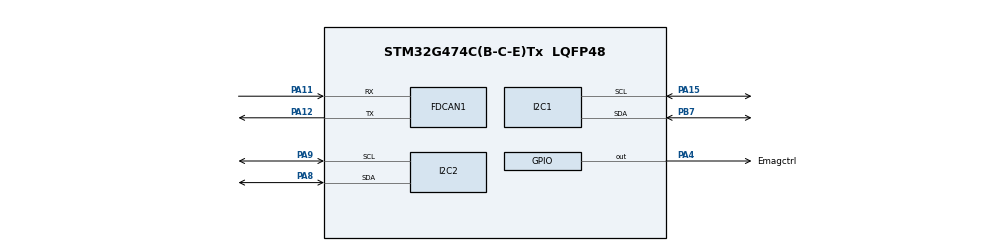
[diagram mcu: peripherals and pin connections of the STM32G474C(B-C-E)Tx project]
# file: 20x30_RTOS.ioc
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FDCAN1.CalculateBaudRateNominal=1000000
FDCAN1.CalculateTimeBitNominal=1000
FDCAN1.CalculateTimeQuantumNominal=83.33333333333333
FDCAN1.DataPrescaler=2
FDCAN1.DataSyncJumpWidth=3
FDCAN1.DataTimeSeg1=8
FDCAN1.DataTimeSeg2=3
FDCAN1.ExtFiltersNbr=8
FDCAN1.FrameFormat=FDCAN_FRAME_FD_NO_BRS
FDCAN1.NominalPrescaler=2
FDCAN1.NominalTimeSeg1=4
FDCAN1.NominalTimeSeg2=7
FDCAN1.StdFiltersNbr=28
FREERTOS.Mutexes01=Emagctrl,Dynamic,NULL,Depleted;RST,Dynamic,NULL,Depleted;Judge,Dynamic,NULL,Available
FREERTOS.Queues01=CapData,4,Cap,0,Dynamic,NULL,NULL;Data,4,CalclptData,0,Dynamic,NULL,NULL
FREERTOS.Tasks01=I2CRead,27,128,Task_I2C,Default,NULL,Dynamic,NULL,NULL;DataProcessing,24,512,Task_Data,Default,NULL,Dynamic,NULL,NULL;CANCommunicatio,32,128,Task_CAN,Default,NULL,Dynamic,NULL,NULL
FREERTOS.configENABLE_FPU=0
FREERTOS.configTOTAL_HEAP_SIZE=8192
I2C1.Timing=0x00805C87
I2C2.Timing=0x00805C87
Mcu.Family=STM32G4
Mcu.Name=STM32G474C(B-C-E)Tx
Mcu.Package=LQFP48
NVIC.FDCAN1_IT0_IRQn=true\:5\:0\:false\:false\:true\:true\:true\:true\:true
NVIC.PriorityGroup=NVIC_PRIORITYGROUP_4
NVIC.TIM6_DAC_IRQn=true\:15\:0\:false\:false\:true\:false\:false\:true\:true
NVIC.TimeBase=TIM6_DAC_IRQn
NVIC.TimeBaseIP=TIM6
PA11.Mode=FDCAN_Activate
PA11.Signal=FDCAN1_RX
PA12.Mode=FDCAN_Activate
PA12.Signal=FDCAN1_TX
PA13.Mode=Serial_Wire
PA13.Signal=SYS_JTMS-SWDIO
PA14.Mode=Serial_Wire
PA14.Signal=SYS_JTCK-SWCLK
PA15.Mode=I2C
PA15.Signal=I2C1_SCL
PA4.GPIO_Label=Emagctrl
PA4.Signal=GPIO_Output
PA8.Mode=I2C
PA8.Signal=I2C2_SDA
PA9.Mode=I2C
PA9.Signal=I2C2_SCL
PB7.Mode=I2C
PB7.Signal=I2C1_SDA
PF0-OSC_IN.Mode=HSE-External-Oscillator
PF0-OSC_IN.Signal=RCC_OSC_IN
PF1-OSC_OUT.Mode=HSE-External-Oscillator
PF1-OSC_OUT.Signal=RCC_OSC_OUT
ProjectManager.HeapSize=0x1000
ProjectManager.StackSize=0x1000
ProjectManager.TargetToolchain=MDK-ARM V5.32
RCC.ADC12Freq_Value=24000000
RCC.ADC345Freq_Value=24000000
RCC.AHBFreq_Value=24000000
RCC.APB1Freq_Value=24000000
RCC.APB1TimFreq_Value=24000000
RCC.APB2Freq_Value=24000000
RCC.APB2TimFreq_Value=24000000
RCC.CortexFreq_Value=24000000
RCC.EXTERNAL_CLOCK_VALUE=12288000
RCC.HCLKFreq_Value=24000000
RCC.HSE_Timout=200
RCC.HSE_VALUE=8000000
RCC.HSI48_VALUE=48000000
RCC.HSI_VALUE=16000000
RCC.LSE_VALUE=32768
RCC.PLLN=9
RCC.PLLR=RCC_PLLR_DIV6
RCC.SYSCLKFreq_VALUE=24000000
RCC.SYSCLKSource=RCC_SYSCLKSOURCE_PLLCLK
RCC.USBFreq_Value=72000000
RCC.VCOOutputFreq_Value=144000000
VP_FREERTOS_VS_CMSIS_V2.Mode=CMSIS_V2
VP_SYS_VS_DBSignals.Mode=DisableDeadBatterySignals
VP_SYS_VS_tim6.Mode=TIM6
board=custom

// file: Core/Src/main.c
/* USER CODE BEGIN Header */
/**
  ******************************************************************************
  * @file           : main.c
  * @brief          : Main program body
  ******************************************************************************
  * @attention
  *
  * Copyright (c) 2025 STMicroelectronics.
  * All rights reserved.
  *
  * This software is licensed under terms that can be found in the LICENSE file
  * in the root directory of this software component.
  * If no LICENSE file comes with this software, it is provided AS-IS.
  *
  ******************************************************************************
  */
/* USER CODE END Header */
#include "main.h"
#include "cmsis_os.h"
#include "fdcan.h"
#include "i2c.h"
#include "gpio.h"

/* USER CODE BEGIN Includes */
#include "AD7142.h"
#include "AutoOffset.h"
#include "can.h"
/* USER CODE END Includes */

/* USER CODE BEGIN PV */
uint8_t Reg_sum,start_flag;
uint8_t Reg_sum2,start_flag2;
extern uint8_t Reg_Offset_Done_flag[15];
extern uint8_t Reg_Offset_Done_flag2[15];
uint16_t offset1[10],offset2[10];
/* USER CODE END PV */

void SystemClock_Config(void);
void MX_FREERTOS_Init(void);

int main(void)
{

  /* MCU Configuration--------------------------------------------------------*/

  /* Reset of all peripherals, Initializes the Flash interface and the Systick. */
  HAL_Init();

  /* Configure the system clock */
  SystemClock_Config();

  /* Initialize all configured peripherals */
  MX_GPIO_Init();
  MX_FDCAN1_Init();
  MX_I2C1_Init();
  MX_I2C2_Init();
  /* USER CODE BEGIN 2 */
	LL_GPIO_SetOutputPin(Emagctrl_GPIO_Port,Emagctrl_Pin);

	AD7142_Protocol_init();
	AD7142_Protocol_init2();
	AD7142_init();
	FDCAN1_Config();
	LL_GPIO_SetOutputPin(Emagctrl_GPIO_Port, Emagctrl_Pin);
	//LL_mDelay(500);
	while(Reg_sum < 10 )
	{
		for(int i =0;i<=9;i++)
		{
			Reg_sum += Reg_Offset_Done_flag[i];
		}
		Auto_Offset();
		if(Reg_sum != 10)
		{
			Reg_sum = 0;
		}
	}

	while(Reg_sum2 < 10 )
	{
		for(int i =0;i<=9;i++)
		{
			Reg_sum2 += Reg_Offset_Done_flag2[i];
		}
		Auto_Offset2();
		if(Reg_sum2 != 10)
		{
			Reg_sum2 = 0;
		}
	}
		 for (uint8_t j = 0; j <= Stage_Number; j++)
    {
      AD7142_Read1(CDC_RESULT_S0 + j, offset1 + j, 1);
    }
		for (uint8_t j = 0; j <= Stage_Number; j++)
    {
      AD7142_Read2(CDC_RESULT_S0 + j, offset2 + j, 1);
    }
  /* USER CODE END 2 */

  /* Init scheduler */
  osKernelInitialize();

  /* Call init function for freertos objects (in cmsis_os2.c) */
  MX_FREERTOS_Init();

  /* Start scheduler */
  osKernelStart();

  /* We should never get here as control is now taken by the scheduler */

  /* Infinite loop */
  while (1)
  {

  }
}

void SystemClock_Config(void)
{
  LL_FLASH_SetLatency(LL_FLASH_LATENCY_0);
  while(LL_FLASH_GetLatency() != LL_FLASH_LATENCY_0)
  {
  }
  LL_PWR_SetRegulVoltageScaling(LL_PWR_REGU_VOLTAGE_SCALE1);
  LL_RCC_HSI_Enable();
   /* Wait till HSI is ready */
  while(LL_RCC_HSI_IsReady() != 1)
  {
  }

  LL_RCC_HSI_SetCalibTrimming(64);
  LL_RCC_PLL_ConfigDomain_SYS(LL_RCC_PLLSOURCE_HSI, LL_RCC_PLLM_DIV_1, 9, LL_RCC_PLLR_DIV_6);
  LL_RCC_PLL_EnableDomain_SYS();
  LL_RCC_PLL_Enable();
   /* Wait till PLL is ready */
  while(LL_RCC_PLL_IsReady() != 1)
  {
  }

  LL_RCC_SetSysClkSource(LL_RCC_SYS_CLKSOURCE_PLL);
   /* Wait till System clock is ready */
  while(LL_RCC_GetSysClkSource() != LL_RCC_SYS_CLKSOURCE_STATUS_PLL)
  {
  }

  /* Set AHB prescaler*/
  LL_RCC_SetAHBPrescaler(LL_RCC_SYSCLK_DIV_1);
  LL_RCC_SetAPB1Prescaler(LL_RCC_APB1_DIV_1);
  LL_RCC_SetAPB2Prescaler(LL_RCC_APB2_DIV_1);
  LL_SetSystemCoreClock(24000000);

   /* Update the time base */
  if (HAL_InitTick (TICK_INT_PRIORITY) != HAL_OK)
  {
    Error_Handler();
  }
}

void HAL_TIM_PeriodElapsedCallback(TIM_HandleTypeDef *htim)
{
  if (htim->Instance == TIM6) {
    HAL_IncTick();
  }
}

void Error_Handler(void)
{
  __disable_irq();
  while (1)
  {
  }
}

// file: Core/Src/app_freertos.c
/* USER CODE BEGIN Header */
/**
  ******************************************************************************
  * File Name          : app_freertos.c
  * Description        : Code for freertos applications
  ******************************************************************************
  * @attention
  *
  * Copyright (c) 2025 STMicroelectronics.
  * All rights reserved.
  *
  * This software is licensed under terms that can be found in the LICENSE file
  * in the root directory of this software component.
  * If no LICENSE file comes with this software, it is provided AS-IS.
  *
  ******************************************************************************
  */
/* USER CODE END Header */

#include "FreeRTOS.h"
#include "task.h"
#include "main.h"
#include "cmsis_os.h"

/* USER CODE BEGIN Includes */
#include "AD7142.h"
#include "queue.h"
#include "can.h"
#include "host_control_protocol.h"
#include "foot_controller.h"
#include <string.h>
/* USER CODE END Includes */

/* USER CODE BEGIN PTD */
typedef struct {
    int16_t legacy_values[16];
    int16_t stage_pair_sum[8];
    uint32_t sequence;
    uint32_t ready_us;
    uint16_t baseline_generation;
    uint8_t board_data[48];
} CalclptData;

typedef struct {
    uint32_t sequence;
    uint32_t ready_us;
    uint16_t baseline_generation;
} SampleTiming;

typedef enum {
	EMAG_MODE_HOLD = 0,
	EMAG_MODE_FORCE_RESET = 1,
	EMAG_MODE_FORCE_SET = 2
} EmagControlMode;

extern uint16_t offset1[10],offset2[10];
static uint8_t rxdata[64];
static volatile uint8_t emag_mode = EMAG_MODE_HOLD;
static volatile uint8_t baseline_reset_request = 0;
static volatile uint8_t emag_pin_state = 1;
static volatile uint16_t baseline_generation = 0;
static volatile uint32_t dropped_commands = 0;
static uint32_t dropped_tx_frames = 0;
static QueueHandle_t command_queue = NULL;
static SampleTiming sample_history[128];
static FootController foot_controller;
static FootConfig staged_config;
static uint8_t staged_fields;
static uint8_t staging;
static uint8_t foot_state;
static volatile uint8_t stop_pending;
static uint16_t config_revision;
static uint32_t trigger_sequence, trigger_ready_us, trigger_gpio_us;
static float trigger_crossing;
/* USER CODE END PTD */

/* USER CODE BEGIN PD */

/* 两片 AD7142 均使用 AD7142_init() 中的 10 Stage 配置：
 * 第一路接近觉：CIN9 -> Stage7 -> JJJ1_1 / JJJ2_1（0x123 int16 索引 5 / 12）。
 * 第二路接近觉：CIN4 -> Stage4 -> JJJ1_2 / JJJ2_2（0x123 int16 索引 6 / 13）。
 * CIN 编号是输入通道号，不是芯片封装的物理脚号，也不等于 Stage 编号。
 * Stage9 对应 CIN11，参与受力信号计算，不能当作 CIN9 的接近觉上传。
 * 接近觉测试版的 5 Stage 配置把 CIN9 放在 Stage3；勿将该索引搬到本版本。
 * 修改通道配置时，应同时核对 Drivers/AD7142/AD7142.c 的 AD7142_init()。
 */
#define AD7142_PROXIMITY_CIN9_STAGE 7U
#define AD7142_PROXIMITY_CIN4_STAGE 4U

/* USER CODE END PD */

/* Definitions for ControlTask */
osThreadId_t ControlTaskHandle;
const osThreadAttr_t ControlTask_attributes = {
  .name = "ControlTask",
  .priority = (osPriority_t) osPriorityAboveNormal,
  .stack_size = 512 * 4
};
/* Definitions for CANCommunicatio */
osThreadId_t CANCommunicatioHandle;
const osThreadAttr_t CANCommunicatio_attributes = {
  .name = "CANCommunicatio",
  .priority = (osPriority_t) osPriorityNormal,
  .stack_size = 256 * 4
};
/* Definitions for Data */
osMessageQueueId_t DataHandle;
const osMessageQueueAttr_t Data_attributes = {
  .name = "Data"
};

/* USER CODE BEGIN FunctionPrototypes */
static void Emag_SetOutput(uint8_t set_pin);
static void UpdateBaselineFromCurrentSample(const uint16_t *data1, const uint16_t *data2);
static void Timing_Init(void);
static uint32_t Timing_NowUs(void);
static void ProcessHostCommand(const HostControlCommand *command);
static void SendSample(const CalclptData *sample);
static void RunFootController(CalclptData *sample, uint32_t started_us);
static uint8_t ConfigureFoot(const HostControlCommand *command);
static void SendFrame(uint16_t can_id, const uint8_t *data, uint32_t dlc);

/* USER CODE END FunctionPrototypes */

void Task_Control(void *argument);
void Task_CAN(void *argument);

void MX_FREERTOS_Init(void); /* (MISRA C 2004 rule 8.1) */

void MX_FREERTOS_Init(void) {
  /* USER CODE BEGIN Init */
  Timing_Init();
  Foot_Init(&foot_controller);
  foot_state = FOOT_DISARMED;
  staging = 0U;
  config_revision = 0U;
  stop_pending = 0U;
  trigger_sequence = 0U;
  /* USER CODE END Init */

  /* Create the queue(s) */
  /* creation of Data */
  DataHandle = osMessageQueueNew (1, sizeof(CalclptData), &Data_attributes);

  /* USER CODE BEGIN RTOS_QUEUES */
  command_queue = xQueueCreate(8, sizeof(HostControlCommand));
  configASSERT(DataHandle != NULL);
  configASSERT(command_queue != NULL);
  /* USER CODE END RTOS_QUEUES */

  /* Create the thread(s) */
  /* creation of ControlTask */
  ControlTaskHandle = osThreadNew(Task_Control, NULL, &ControlTask_attributes);

  /* creation of CANCommunicatio */
  CANCommunicatioHandle = osThreadNew(Task_CAN, NULL, &CANCommunicatio_attributes);

}

/* USER CODE BEGIN Header_Task_Control */
/**
  * @brief  Acquire, calibrate and run the selected local control policy.
  * @param  argument: Not used
  * @retval None
  */
/* USER CODE END Header_Task_Control */
void Task_Control(void *argument)
{
  /* USER CODE BEGIN Task_Control */
    uint16_t data1[10];
    uint16_t data2[10];
    int16_t signals[2][10];
    CalclptData sample;
    uint32_t sequence = 0;
    TickType_t last_wake_time = xTaskGetTickCount();
  /* Infinite loop */
  for(;;)
  {
        uint32_t started_us = Timing_NowUs();
        AD7142_Read1(CDC_RESULT_S0, data1, 10);
        AD7142_Read2(CDC_RESULT_S0, data2, 10);

        if (baseline_reset_request != 0U) {
            baseline_reset_request = 0U;
            UpdateBaselineFromCurrentSample(data1, data2);
            baseline_generation++;
            Foot_ResetHistory(&foot_controller);
        }

        for (int i = 0; i < 10; i++) {
            signals[0][i] = (int16_t)((int32_t)data1[i] - offset1[i]);
            signals[1][i] = (int16_t)((int32_t)data2[i] - offset2[i]);
        }

        /* Preserve the original 0x123 channel order, including its Fx/Fy swap.
           These are zeroed integer combinations, not calibrated forces. */
        for (int foot = 0; foot < 2; foot++) {
            const int16_t *s = signals[foot];
            int16_t *out = &sample.legacy_values[foot * 7];
            int16_t *pairs = &sample.stage_pair_sum[foot * 4];
            out[0] = s[5] - s[6] + s[2] - s[3];
            out[1] = s[1] - s[0] + s[9] - s[8];
            out[2] = s[0] + s[1] + s[2] + s[3] + s[8] + s[9] + s[5] + s[6];
            out[3] = s[0] + s[1] + s[2] + s[3] - s[8] - s[9] - s[6] - s[5];
            out[4] = s[0] + s[1] + s[5] + s[6] - s[2] - s[3] - s[8] - s[9];
            /* 接近觉分别上传各自清零后的单 Stage 读数，两片芯片共用此映射。 */
            out[5] = s[AD7142_PROXIMITY_CIN9_STAGE]; /* CIN9，第一路接近觉。 */
            out[6] = s[AD7142_PROXIMITY_CIN4_STAGE]; /* CIN4，第二路接近觉。 */
            pairs[0] = s[0] + s[1];
            pairs[1] = s[2] + s[3];
            pairs[2] = s[8] + s[9];
            pairs[3] = s[5] + s[6];
        }
        sample.legacy_values[14] = sample.legacy_values[2];
        sample.legacy_values[15] = sample.legacy_values[9];

        /* A: data ready, before the queue, CAN packing and CAN transmission.
           Publish timing and generation together before making the sample visible. */
        taskENTER_CRITICAL();
        sequence++;
        if (sequence == 0U) {
            sequence = 1U;
        }
        sample.sequence = sequence;
        sample.ready_us = Timing_NowUs();
        sample.baseline_generation = baseline_generation;
        sample_history[sequence & 127U].sequence = sequence;
        sample_history[sequence & 127U].ready_us = sample.ready_us;
        sample_history[sequence & 127U].baseline_generation = baseline_generation;
        taskEXIT_CRITICAL();

        RunFootController(&sample, started_us);
        xQueueOverwrite((QueueHandle_t)DataHandle, &sample);
        xTaskNotifyGive((TaskHandle_t)CANCommunicatioHandle);
        vTaskDelayUntil(&last_wake_time, pdMS_TO_TICKS(16));
  }
  /* USER CODE END Task_Control */
}

void Task_CAN(void *argument)
{
  /* USER CODE BEGIN Task_CAN */
    CalclptData sample;
    HostControlCommand command;
  /* Infinite loop */
  for(;;)
  {
        ulTaskNotifyTake(pdTRUE, portMAX_DELAY);
        /* RX interrupts wake this task for commands between acquisitions. */
        for (unsigned int i = 0; i < 8U; i++) {
            if (xQueueReceive(command_queue, &command, 0) != pdTRUE) {
                break;
            }
            ProcessHostCommand(&command);
        }
        if (xQueueReceive((QueueHandle_t)DataHandle, &sample, 0) == pdTRUE) {
            SendSample(&sample);
        }
  }
  /* USER CODE END Task_CAN */
}

/* USER CODE BEGIN Application */

static uint8_t StopsFoot(const HostControlCommand *command)
{
    return command->action == HOST_BOARD_DISARM || command->zero_requested != 0U ||
           command->action == HOST_ACTION_LOW || command->action == HOST_ACTION_HIGH;
}

void HAL_FDCAN_RxFifo0Callback(FDCAN_HandleTypeDef *hfdcan, uint32_t RxFifo0ITs)
{
    FDCAN_RxHeaderTypeDef header;
    HostControlCommand command;
    BaseType_t higher_priority_task_woken = pdFALSE;

    if ((RxFifo0ITs & FDCAN_IT_RX_FIFO0_NEW_MESSAGE) == 0U ||
        hfdcan->Instance != FDCAN1) {
        return;
    }

    while (HAL_FDCAN_GetRxFifoFillLevel(hfdcan, FDCAN_RX_FIFO0) != 0U) {
        if (HAL_FDCAN_GetRxMessage(hfdcan, FDCAN_RX_FIFO0, &header, rxdata) != HAL_OK) {
            break;
        }
        /* Drain unrelated frames too, but never interpret them as control data.
           The 64-byte buffer also accommodates unrelated CAN FD frames. */
        if (header.IdType != FDCAN_EXTENDED_ID ||
            header.Identifier != HOST_COMMAND_CAN_ID ||
            header.RxFrameType != FDCAN_DATA_FRAME ||
            header.DataLength != FDCAN_DLC_BYTES_8 ||
            command_queue == NULL || CANCommunicatioHandle == NULL) {
            continue;
        }
        if (HostProtocol_DecodeCommand(rxdata, &command) == 0U) {
            continue;
        }
        /* D: valid command decoded in RX ISR, before task scheduling or GPIO. */
        command.received_us = Timing_NowUs();
        if (xQueueSendFromISR(command_queue, &command, &higher_priority_task_woken) == pdTRUE) {
            if (StopsFoot(&command)) {
                stop_pending++;
            }
            vTaskNotifyGiveFromISR((TaskHandle_t)CANCommunicatioHandle,
                                  &higher_priority_task_woken);
        } else {
            dropped_commands++;
        }
    }
    portYIELD_FROM_ISR(higher_priority_task_woken);
}

static void Timing_Init(void)
{
    uint32_t timer_clock = HAL_RCC_GetPCLK1Freq();

    /* TIM2 is an otherwise unused 32-bit timer; do not modify HAL's TIM6 tick. */
    if ((RCC->CFGR & RCC_CFGR_PPRE1) != 0U) {
        timer_clock *= 2U;
    }
    configASSERT(timer_clock >= 1000000U && timer_clock % 1000000U == 0U);
    __HAL_RCC_TIM2_CLK_ENABLE();
    TIM2->CR1 = 0U;
    TIM2->DIER = 0U;
    TIM2->PSC = timer_clock / 1000000U - 1U;
    TIM2->ARR = 0xFFFFFFFFUL;
    TIM2->EGR = TIM_EGR_UG;
    TIM2->SR = 0U;
    TIM2->CNT = 0U;
    TIM2->CR1 = TIM_CR1_CEN;
}

static uint32_t Timing_NowUs(void)
{
    return TIM2->CNT;
}

static void SendFrame(uint16_t can_id, const uint8_t *data, uint32_t dlc)
{
    TickType_t started = xTaskGetTickCount();
    HAL_StatusTypeDef result;

    do {
        result = canfd_send_bytes(can_id, data, dlc);
        if (result != HAL_BUSY) {
            break;
        }
        if ((TickType_t)(xTaskGetTickCount() - started) >= pdMS_TO_TICKS(5)) {
            break;
        }
        vTaskDelay(pdMS_TO_TICKS(1));
    } while (1);
    if (result != HAL_OK) {
        /* Exposed in 0x124; a full TX FIFO must not halt acquisition/control. */
        dropped_tx_frames++;
    }
}

static void SendSample(const CalclptData *sample)
{
    uint8_t data[48] = {0};
    uint8_t pairs[32] = {0};

    for (unsigned int i = 0; i < 16U; i++) {
        HostProtocol_PutU16(&data[i * 2U], (uint16_t)sample->legacy_values[i]);
    }
    /* Removed local force-threshold flags remain zero at indices 16 and 17. */
    HostProtocol_PutU16(&data[36], emag_mode);
    HostProtocol_PutU16(&data[38], emag_pin_state);
    HostProtocol_PutU32(&data[40], sample->sequence);
    HostProtocol_PutU32(&data[44], sample->ready_us);
    SendFrame(HOST_DATA_CAN_ID, data, FDCAN_DLC_BYTES_48);

    for (unsigned int i = 0; i < 8U; i++) {
        HostProtocol_PutU16(&pairs[i * 2U], (uint16_t)sample->stage_pair_sum[i]);
    }
    HostProtocol_PutU32(&pairs[16], sample->sequence);
    HostProtocol_PutU32(&pairs[20], sample->ready_us);
    HostProtocol_PutU16(&pairs[24], sample->baseline_generation);
    HostProtocol_PutU16(&pairs[26], HOST_PROTOCOL_VERSION);
    HostProtocol_PutU16(&pairs[28], (uint16_t)dropped_commands);
    HostProtocol_PutU16(&pairs[30], (uint16_t)dropped_tx_frames);
    SendFrame(HOST_STAGE_PAIR_CAN_ID, pairs, FDCAN_DLC_BYTES_32);
    SendFrame(HOST_BOARD_CAN_ID, sample->board_data, FDCAN_DLC_BYTES_48);
}

static void PutFloat(uint8_t *data, float value)
{
    uint32_t bits;
    memcpy(&bits, &value, sizeof(bits));
    HostProtocol_PutU32(data, bits);
}

static uint8_t FootIsActive(void)
{
    return foot_state == FOOT_ARMED || foot_state == FOOT_WARMUP || foot_state == FOOT_WAIT_CLEAR;
}

static void RunFootController(CalclptData *sample, uint32_t started_us)
{
    uint8_t *data = sample->board_data;
    const FootConfig *config = &foot_controller.config;
    float force = Foot_Sample(&foot_controller, sample->legacy_values, sample->ready_us);
    float crossing = -1.0f;
    uint8_t reached = 0U;
    uint8_t status;
    uint32_t computed_us;

    if (FootIsActive() && stop_pending == 0U) {
        if (config->strategy == FOOT_THRESHOLD) {
            reached = force >= config->threshold;
        } else if (foot_controller.count == 16U) {
            float predicted[16];
            Foot_Predict(&foot_controller, predicted);
            crossing = Foot_Crossing(predicted, config->threshold);
            if (foot_state == FOOT_ARMED) {
                reached = crossing >= 0.0f;
            } else {
                foot_state = crossing < 0.0f ? FOOT_ARMED : FOOT_WAIT_CLEAR;
            }
        } else {
            foot_state = FOOT_WARMUP;
        }
    }
    computed_us = Timing_NowUs() - sample->ready_us;
    status = foot_state;
    taskENTER_CRITICAL();
    if (FootIsActive() && stop_pending == 0U) {
        if (Timing_NowUs() - started_us >= 16000U) {
            foot_state = FOOT_DEADLINE;
            status = FOOT_DEADLINE;
        } else if (reached != 0U) {
            Emag_SetOutput(config->output);
            trigger_gpio_us = Timing_NowUs();
            trigger_ready_us = sample->ready_us;
            trigger_sequence = sample->sequence;
            trigger_crossing = crossing;
            foot_state = FOOT_TRIGGERED;
            status = FOOT_TRIGGERED;
            emag_mode = config->output ? EMAG_MODE_FORCE_SET : EMAG_MODE_FORCE_RESET;
        }
    }
    taskEXIT_CRITICAL();

    data[0] = HOST_PROTOCOL_VERSION;
    data[1] = config->strategy;
    data[2] = status;
    data[3] = emag_pin_state;
    HostProtocol_PutU16(&data[4], sample->baseline_generation);
    HostProtocol_PutU16(&data[6], config_revision);
    HostProtocol_PutU32(&data[8], sample->sequence);
    HostProtocol_PutU32(&data[12], sample->ready_us);
    HostProtocol_PutU32(&data[16], trigger_sequence);
    HostProtocol_PutU32(&data[20], trigger_sequence ? trigger_ready_us : HOST_TIME_INVALID);
    HostProtocol_PutU32(&data[24], trigger_sequence ? trigger_gpio_us : HOST_TIME_INVALID);
    PutFloat(&data[28], force);
    PutFloat(&data[32], status == FOOT_TRIGGERED ? trigger_crossing : crossing);
    PutFloat(&data[36], config->threshold);
    HostProtocol_PutU32(&data[40], computed_us);
    HostProtocol_PutU32(&data[44], Foot_ModelTag());
}

static uint8_t ConfigureFoot(const HostControlCommand *command)
{
    uint8_t action = command->action;
    uint32_t value = command->value;
    float parameter;

    if (action == HOST_BOARD_DISARM) {
        foot_state = FOOT_DISARMED;
        staging = 0U;
        return HOST_ACK_OK;
    }
    if (FootIsActive() || baseline_reset_request != 0U) {
        return HOST_ACK_BOARD_BUSY;
    }
    if (action == HOST_BOARD_ARM) {
        if (config_revision == 0U || (uint16_t)(value >> 16) != config_revision) {
            return HOST_ACK_INVALID_CONFIG;
        }
        if ((uint16_t)value != baseline_generation) {
            return HOST_ACK_BASELINE_CHANGED;
        }
        if (emag_pin_state == foot_controller.config.output) {
            return HOST_ACK_OUTPUT_ALREADY_SET;
        }
        trigger_sequence = 0U;
        foot_state = foot_controller.config.strategy == FOOT_THRESHOLD ? FOOT_ARMED :
                     (foot_controller.count < 16U ? FOOT_WARMUP : FOOT_WAIT_CLEAR);
        staging = 0U;
        return HOST_ACK_OK;
    }
    if (action == HOST_BOARD_BEGIN) {
        staged_config = foot_controller.config;
        staged_fields = 0U;
        staging = 1U;
        return HOST_ACK_OK;
    }
    if (staging == 0U) {
        return HOST_ACK_INVALID_CONFIG;
    }
    if (action == HOST_BOARD_COMMIT) {
        staging = 0U;
        staged_config.strategy = (uint8_t)value;
        staged_config.output = (uint8_t)(value >> 8);
        if (staged_fields != 15U || value > 0x0102U || staged_config.output > 1U ||
            (staged_config.strategy != FOOT_THRESHOLD && staged_config.strategy != FOOT_PREDICTION)) {
            return HOST_ACK_INVALID_CONFIG;
        }
        if (staged_config.strategy == FOOT_PREDICTION &&
            !Foot_MatchesModel(staged_config.calibration)) {
            return HOST_ACK_MODEL_CALIBRATION;
        }
        if (memcmp(staged_config.calibration, foot_controller.config.calibration,
                   sizeof(staged_config.calibration)) != 0) {
            Foot_ResetHistory(&foot_controller);
        }
        foot_controller.config = staged_config;
        foot_state = FOOT_DISARMED;
        trigger_sequence = 0U;
        config_revision++;
        if (config_revision == 0U) {
            config_revision = 1U;
        }
        return HOST_ACK_OK;
    }
    if ((value & 0x7F800000UL) == 0x7F800000UL) {
        return HOST_ACK_INVALID_CONFIG;
    }
    memcpy(&parameter, &value, sizeof(parameter));
    if (action == HOST_BOARD_THRESHOLD) {
        if (!(parameter > 0.0f && parameter <= 10000.0f)) {
            return HOST_ACK_INVALID_CONFIG;
        }
        staged_config.threshold = parameter;
        staged_fields |= 8U;
    } else {
        unsigned int index = action - HOST_BOARD_CAL_A;
        if (!(parameter >= -1000.0f && parameter <= 1000.0f)) {
            return HOST_ACK_INVALID_CONFIG;
        }
        staged_config.calibration[index] = parameter;
        staged_fields |= (uint8_t)(1U << index);
    }
    return HOST_ACK_OK;
}

static void ProcessHostCommand(const HostControlCommand *command)
{
    HostControlAck ack = {0};
    uint8_t data[HOST_ACK_SIZE];
    const SampleTiming *timing;

    ack.command_id = command->command_id;
    ack.sample_sequence = command->sample_sequence;
    ack.received_us = command->received_us;
    ack.action = command->action;
    ack.ready_us = HOST_TIME_INVALID;
    ack.gpio_written_us = HOST_TIME_INVALID;
    ack.round_trip_us = HOST_TIME_INVALID;
    if (command->legacy != 0U) {
        ack.flags |= HOST_ACK_FLAG_LEGACY;
    }

    /* Acquisition may preempt this task. Validate the history/generation and
       apply the command atomically with respect to publishing/zeroing samples. */
    taskENTER_CRITICAL();
    if (StopsFoot(command) && stop_pending != 0U) {
        stop_pending--;
    }
    if (command->sample_sequence != 0U) {
        timing = &sample_history[command->sample_sequence & 127U];
        if (timing->sequence != command->sample_sequence) {
            ack.status = HOST_ACK_UNKNOWN_SAMPLE;
        } else if (timing->baseline_generation != baseline_generation) {
            ack.status = HOST_ACK_BASELINE_CHANGED;
        } else {
            ack.ready_us = timing->ready_us;
            /* Unsigned subtraction handles the 32-bit microsecond wrap. */
            ack.round_trip_us = command->received_us - timing->ready_us;
            ack.flags |= HOST_ACK_FLAG_TIMING_VALID;
        }
    }

    if (command->action >= HOST_BOARD_DISARM) {
        ack.status = ConfigureFoot(command);
        ack.ready_us = config_revision; /* C2 ACK uses this field for revision. */
    } else if (ack.status == HOST_ACK_OK) {
        if (StopsFoot(command)) {
            foot_state = FOOT_DISARMED;
            staging = 0U;
        }
        if (command->zero_requested != 0U) {
            baseline_reset_request = 1U;
            ack.flags |= HOST_ACK_FLAG_ZERO_PENDING;
        }
        if (command->action == HOST_ACTION_LOW || command->action == HOST_ACTION_HIGH) {
            if (emag_pin_state != command->action) {
                ack.flags |= HOST_ACK_FLAG_GPIO_CHANGED;
            }
            Emag_SetOutput(command->action);
            ack.gpio_written_us = Timing_NowUs();
            ack.flags |= HOST_ACK_FLAG_GPIO_WRITTEN;
            emag_mode = (command->action == HOST_ACTION_LOW) ?
                        EMAG_MODE_FORCE_RESET : EMAG_MODE_FORCE_SET;
        }
        /* HOLD and ZERO never change the GPIO or enable autonomous control. */
    }
    ack.pin_state = emag_pin_state;
    ack.baseline_generation = baseline_generation;
    ack.dropped_commands = (uint16_t)dropped_commands;
    taskEXIT_CRITICAL();

    HostProtocol_EncodeAck(data, &ack);
    SendFrame(HOST_ACK_CAN_ID, data, FDCAN_DLC_BYTES_32);
}

static void Emag_SetOutput(uint8_t set_pin)
{
	if(set_pin != 0U)
	{
		LL_GPIO_SetOutputPin(Emagctrl_GPIO_Port, Emagctrl_Pin);
		emag_pin_state = 1U;
	}
	else
	{
		LL_GPIO_ResetOutputPin(Emagctrl_GPIO_Port, Emagctrl_Pin);
		emag_pin_state = 0U;
	}
}

static void UpdateBaselineFromCurrentSample(const uint16_t *data1, const uint16_t *data2)
{
	for(uint8_t i = 0; i < 10U; i++)
	{
		offset1[i] = data1[i];
		offset2[i] = data2[i];
	}
}
/* USER CODE END Application */
